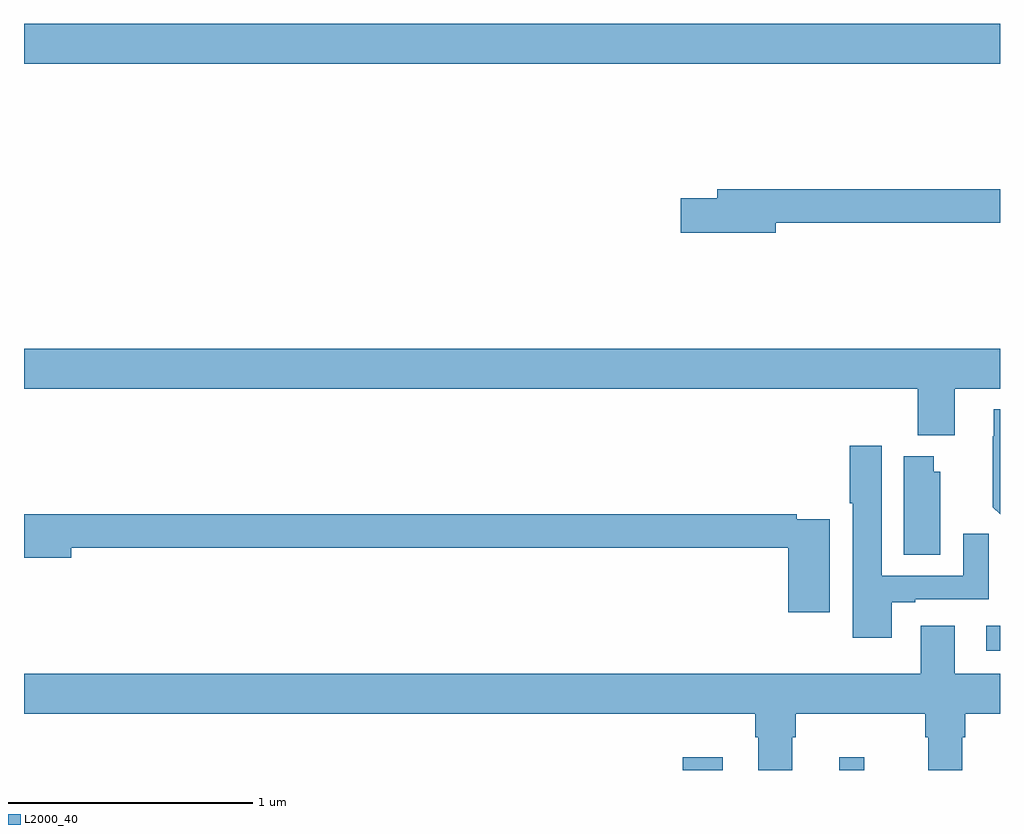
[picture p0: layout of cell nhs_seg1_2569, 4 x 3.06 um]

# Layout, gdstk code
import gdstk
lib = gdstk.Library(unit=1e-6, precision=1e-09)
def R(c, l, rs):  # rectangles x0, y0, x1, y1
    for r in rs: c.add(gdstk.rectangle(r[:2], r[2:], *l))
def P(c, l, *ps):  # polygons
    for p in ps: c.add(gdstk.Polygon(p, *l))
L2000_40 = (2000, 40)

nhs_seg1_2569 = lib.new_cell('nhs_seg1_2569')
R(nhs_seg1_2569, L2000_40, [(253.7,518.199,253.864,518.254), (254.342,518.199,254.444,518.254), (254.943,518.69,255,518.791), (251,521.096,255,521.26)])
P(nhs_seg1_2569, L2000_40, [(254.08,520.444),(255,520.444),(255,520.58),(253.841,520.58),(253.841,520.544),(253.692,520.544),(253.692,520.402),(254.08,520.402)],
  [(254.815,519.764),(255,519.764),(255,519.928),(251,519.928),(251,519.764),(254.663,519.764),(254.663,519.572),(254.815,519.572)],
  [(255,519.679),(254.975,519.679),(254.975,519.569),(254.971,519.569),(254.971,519.278),(255,519.249)],
  [(254.557,518.889),(254.653,518.889),(254.653,518.901),(254.953,518.901),(254.953,519.169),(254.849,519.169),(254.849,518.997),(254.515,518.997),(254.515,519.529),(254.384,519.529),(254.384,519.295),(254.396,519.295),(254.396,518.742),(254.557,518.742)],
  [(254.755,519.423),(254.728,519.423),(254.728,519.487),(254.606,519.487),(254.606,519.082),(254.755,519.082)],
  [(254.302,519.228),(254.168,519.228),(254.168,519.248),(251,519.248),(251,519.07),(251.194,519.07),(251.194,519.112),(254.132,519.112),(254.132,518.847),(254.302,518.847)],
  [(254.149,518.336),(254.162,518.336),(254.162,518.432),(254.693,518.432),(254.693,518.336),(254.705,518.336),(254.705,518.199),(254.845,518.199),(254.845,518.336),(254.858,518.336),(254.858,518.432),(255,518.432),(255,518.596),(254.815,518.596),(254.815,518.791),(254.675,518.791),(254.675,518.596),(251,518.596),(251,518.432),(253.997,518.432),(253.997,518.336),(254.009,518.336),(254.009,518.199),(254.149,518.199)])

lib.write_gds('nhs_seg1_2569.gds')
